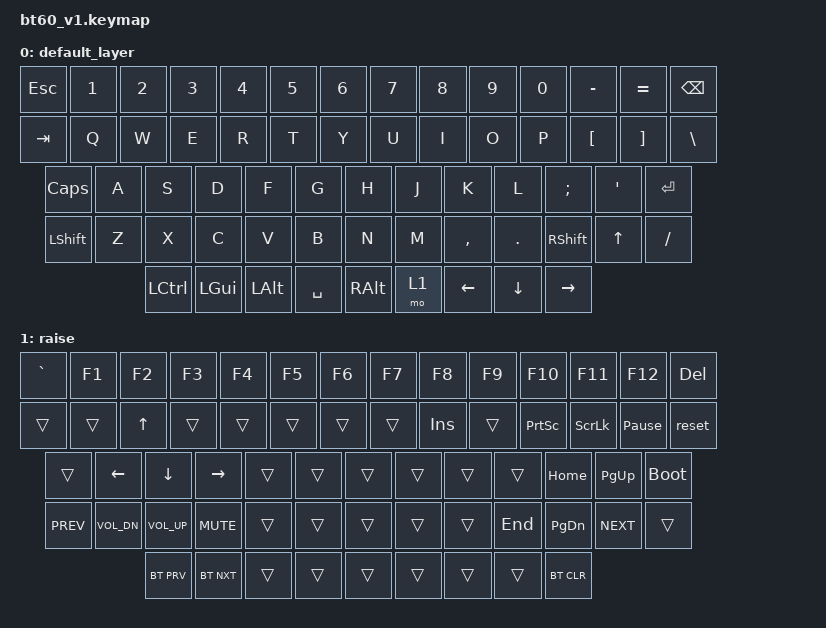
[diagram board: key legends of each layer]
#include <behaviors.dtsi>
#include <dt-bindings/zmk/keys.h>
#include <dt-bindings/zmk/bt.h>

/ {
	keymap {
		compatible = "zmk,keymap";
		default_layer {
				// ------------------------------------------------------------------------------------------
				// | ESC |  1  |  2  |  3  |  4  |  5  |  6  |  7  |  8  |  9  |  0  |  -  |  =  |   BKSP   |
				// | TAB  |  Q  |  W  |  E  |  R  |  T  |  Y  |  U  |  I  |  O  |  P  |  [  |  ]  |    \    |
				// | CAPS  |  A  |  S  |  D  |  F  |  G  |  H  |  J  |  K  |  L  |  ;  |  '  |     ENTER    |
				// |  SHIFT    |  Z  |  X  |  C  |  V  |  B  |  N  |  M  |  ,  | . |  SHIFT  |  UP  |   /   |
				// |  CTL  |  WIN  |  ALT  |            SPACE               | ALT | 1 | LEFT | DOWN | RIGHT |
				// ------------------------------------------------------------------------------------------
			bindings = <
				&kp ESC &kp N1 &kp N2 &kp N3 &kp N4 &kp N5 &kp N6 &kp N7 &kp  N8   &kp  N9 &kp  N0  &kp MINUS &kp EQUAL &kp BSPC
				&kp TAB  &kp Q  &kp W  &kp E  &kp R  &kp T  &kp Y  &kp U  &kp  I    &kp  O  &kp  P   &kp LBKT &kp RBKT  &kp BSLH
				&kp CLCK  &kp A  &kp S  &kp D  &kp F  &kp G  &kp H  &kp J  &kp  K    &kp  L  &kp SEMI &kp SQT           &kp RET
				&kp LSHFT  &kp Z  &kp X  &kp C  &kp V  &kp B  &kp N  &kp M  &kp COMMA &kp DOT &kp RSHFT    &kp UP    &kp FSLH
				&kp LCTRL &kp LGUI &kp LALT            &kp SPACE                          &kp RALT &mo 1 &kp LEFT &kp DOWN &kp RIGHT
			>;
		};
		raise {
				// ------------------------------------------------------------------------------------------
				// |GRAVE| F1  | F2  | F3  | F4  | F5  | F6  | F7  | F8  | F9  | F10 | F11 | F12 |   DEL   |
				// |   -  |  -  | UP  |  -  |  -  |  -  |  -  |  -  | INS |  -  |PSCRN|SLCK |PSEBRK| RESET |
				// |  -   |LEFT |DOWN |RIGHT|  -  |  -  |  -  |  -  |  -  |  -  |HOME |PGUP |  BOOTLOADER |
				// |   PREV  |VOLDN |VOLUP|MUTE |  -  |  -  |  -  |  -  |  -  | END | PGDN |  NEXT   |  -  |
				// |  BT_PRV  |  BT_NXT  |  -  |            -               |  -  |   -   | -  | -  | BT_CLR |
				// ------------------------------------------------------------------------------------------
			bindings = <
				&kp GRAVE &kp F1 &kp F2 &kp F3 &kp F4 &kp F5 &kp F6 &kp F7 &kp  F8   &kp  F9 &kp  F10  &kp F11 &kp F12   &kp DEL
				&trans &trans &kp UP &trans &trans &trans &trans &trans &kp INS &trans &kp PSCRN &kp SLCK &kp PAUSE_BREAK &reset
				&trans    &kp LEFT &kp DOWN &kp RIGHT &trans &trans &trans &trans &trans &trans &kp HOME  &kp PG_UP   &bootloader
				&kp C_PREV &kp C_VOL_DN &kp C_VOL_UP &kp C_MUTE &trans &trans &trans &trans &trans &kp END &kp PG_DN  &kp C_NEXT &trans
				&bt BT_PRV &bt BT_NXT  &trans                       &trans                            &trans  &trans &trans &trans &bt BT_CLR
			>;
		};
	};
};
